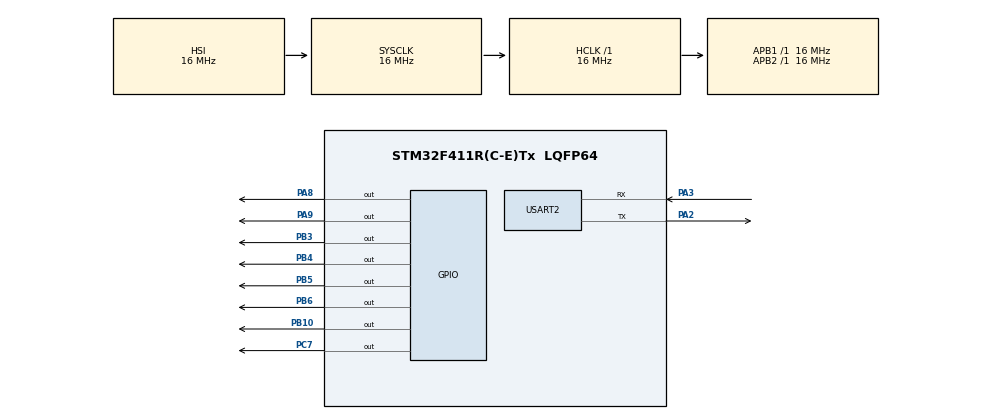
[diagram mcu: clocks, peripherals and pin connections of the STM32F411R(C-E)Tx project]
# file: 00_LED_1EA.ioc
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Mcu.Family=STM32F4
Mcu.Name=STM32F411R(C-E)Tx
Mcu.Package=LQFP64
NVIC.PriorityGroup=NVIC_PRIORITYGROUP_4
PA13.Mode=Serial_Wire
PA13.Signal=SYS_JTMS-SWDIO
PA14.Mode=Serial_Wire
PA14.Signal=SYS_JTCK-SWCLK
PA2.Mode=Asynchronous
PA2.Signal=USART2_TX
PA3.Mode=Asynchronous
PA3.Signal=USART2_RX
PA8.Signal=GPIO_Output
PA9.Signal=GPIO_Output
PB10.Signal=GPIO_Output
PB3.Signal=GPIO_Output
PB4.Signal=GPIO_Output
PB5.Signal=GPIO_Output
PB6.Signal=GPIO_Output
PC14-OSC32_IN.Mode=LSE-External-Clock-Source
PC14-OSC32_IN.Signal=RCC_OSC32_IN
PC15-OSC32_OUT.Mode=LSE-External-Clock-Source
PC15-OSC32_OUT.Signal=RCC_OSC32_OUT
PC7.Signal=GPIO_Output
PH0\ -\ OSC_IN.Mode=HSE-External-Clock-Source
PH0\ -\ OSC_IN.Signal=RCC_OSC_IN
PH1\ -\ OSC_OUT.Mode=HSE-External-Clock-Source
PH1\ -\ OSC_OUT.Signal=RCC_OSC_OUT
ProjectManager.HeapSize=0x200
ProjectManager.StackSize=0x400
ProjectManager.TargetToolchain=STM32CubeIDE
RCC.48MHZClocksFreq_Value=100000000
RCC.AHBFreq_Value=16000000
RCC.APB1Freq_Value=16000000
RCC.APB2Freq_Value=16000000
RCC.CortexFreq_Value=16000000
RCC.HSE_VALUE=4000000
RCC.HSI_VALUE=16000000
RCC.LSE_VALUE=32768
RCC.PLLM=4
RCC.PLLN=100
RCC.SYSCLKFreq_VALUE=16000000
RCC.VCOOutputFreq_Value=400000000
USART2.VirtualMode=VM_ASYNC
board=custom

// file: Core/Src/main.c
/* USER CODE BEGIN Header */
/**
  ******************************************************************************
  * @file           : main.c
  * @brief          : Main program body
  ******************************************************************************
  * @attention
  *
  * Copyright (c) 2026 STMicroelectronics.
  * All rights reserved.
  *
  * This software is licensed under terms that can be found in the LICENSE file
  * in the root directory of this software component.
  * If no LICENSE file comes with this software, it is provided AS-IS.
  *
  ******************************************************************************
  */
/* USER CODE END Header */
#include "main.h"
#include "usart.h"
#include "gpio.h"

/* USER CODE BEGIN PTD */
typedef struct{
    GPIO_TypeDef        *port;
    uint16_t                        pin_num;
    GPIO_PinState           on_state;
    GPIO_PinState           off_state;
}LED_CONTROL;

LED_CONTROL led[8] = {
        {GPIOB, GPIO_PIN_3, GPIO_PIN_SET, GPIO_PIN_RESET},
        {GPIOB, GPIO_PIN_5, GPIO_PIN_SET, GPIO_PIN_RESET},
        {GPIOB, GPIO_PIN_4, GPIO_PIN_SET, GPIO_PIN_RESET},
        {GPIOB, GPIO_PIN_10, GPIO_PIN_SET, GPIO_PIN_RESET},
        {GPIOA, GPIO_PIN_8, GPIO_PIN_SET, GPIO_PIN_RESET},
        {GPIOA, GPIO_PIN_9, GPIO_PIN_SET, GPIO_PIN_RESET},
        {GPIOC, GPIO_PIN_7, GPIO_PIN_SET, GPIO_PIN_RESET},
        {GPIOB, GPIO_PIN_6, GPIO_PIN_SET, GPIO_PIN_RESET}
};

/* USER CODE END PTD */

void SystemClock_Config(void);
/* USER CODE BEGIN PFP */
void ledOn(uint8_t num);
void ledOff(uint8_t num);
void ledShift(uint8_t num);
void ledinit(void);
void led_rev_Shift(uint8_t num);
/* USER CODE END PFP */

int main(void)
{

  /* MCU Configuration--------------------------------------------------------*/

  /* Reset of all peripherals, Initializes the Flash interface and the Systick. */
  HAL_Init();

  /* Configure the system clock */
  SystemClock_Config();

  /* Initialize all configured peripherals */
  MX_GPIO_Init();
  MX_USART2_UART_Init();
  /* USER CODE BEGIN 2 */
  void ledinit(void);
  uint8_t num = 0;
  /* USER CODE END 2 */

  /* Infinite loop */
  /* USER CODE BEGIN WHILE */
  while (1)
  {

//      ledOn(num);
//      HAL_Delay(200);
//      ledOff(num);
//
     num++;
     ledShift(num);
     if(num == 7){
         led_rev_Shift(num);
     }
     if(num % 8 ==0){
         num = 0;
     }
    /* USER CODE END WHILE */

  }
}

void SystemClock_Config(void)
{
  RCC_OscInitTypeDef RCC_OscInitStruct = {0};
  RCC_ClkInitTypeDef RCC_ClkInitStruct = {0};

  /** Configure the main internal regulator output voltage
  */
  __HAL_RCC_PWR_CLK_ENABLE();
  __HAL_PWR_VOLTAGESCALING_CONFIG(PWR_REGULATOR_VOLTAGE_SCALE1);

  /** Initializes the RCC Oscillators according to the specified parameters
  * in the RCC_OscInitTypeDef structure.
  */
  RCC_OscInitStruct.OscillatorType = RCC_OSCILLATORTYPE_HSI;
  RCC_OscInitStruct.HSIState = RCC_HSI_ON;
  RCC_OscInitStruct.HSICalibrationValue = RCC_HSICALIBRATION_DEFAULT;
  RCC_OscInitStruct.PLL.PLLState = RCC_PLL_NONE;
  if (HAL_RCC_OscConfig(&RCC_OscInitStruct) != HAL_OK)
  {
    Error_Handler();
  }

  /** Initializes the CPU, AHB and APB buses clocks
  */
  RCC_ClkInitStruct.ClockType = RCC_CLOCKTYPE_HCLK|RCC_CLOCKTYPE_SYSCLK
                              |RCC_CLOCKTYPE_PCLK1|RCC_CLOCKTYPE_PCLK2;
  RCC_ClkInitStruct.SYSCLKSource = RCC_SYSCLKSOURCE_HSI;
  RCC_ClkInitStruct.AHBCLKDivider = RCC_SYSCLK_DIV1;
  RCC_ClkInitStruct.APB1CLKDivider = RCC_HCLK_DIV1;
  RCC_ClkInitStruct.APB2CLKDivider = RCC_HCLK_DIV1;

  if (HAL_RCC_ClockConfig(&RCC_ClkInitStruct, FLASH_LATENCY_0) != HAL_OK)
  {
    Error_Handler();
  }
}

/* USER CODE BEGIN 4 */
void ledinit(void){
    for (uint8_t i = 0; i <8; i ++){
            HAL_GPIO_WritePin(led[i].port, led[i].pin_num, led[i].off_state);
        }
}
void ledOn(uint8_t i){
        HAL_GPIO_WritePin(led[i].port, led[i].pin_num, led[i].on_state);

}

void ledOff(uint8_t i){
        HAL_GPIO_WritePin(led[i].port, led[i].pin_num, led[i].off_state);

}

void ledShift(uint8_t num){
    for (uint8_t i = 0; i <num; i++){
        ledOn(i);
        HAL_Delay(100);
        ledOff(i);
    }
}
void led_rev_Shift(uint8_t num){
    for (uint8_t i = num; i >0; i--){
        ledOn(i);
        HAL_Delay(100);
        ledOff(i);
    }
}
/* USER CODE END 4 */

void Error_Handler(void)
{
  __disable_irq();
  while (1)
  {
  }
}
